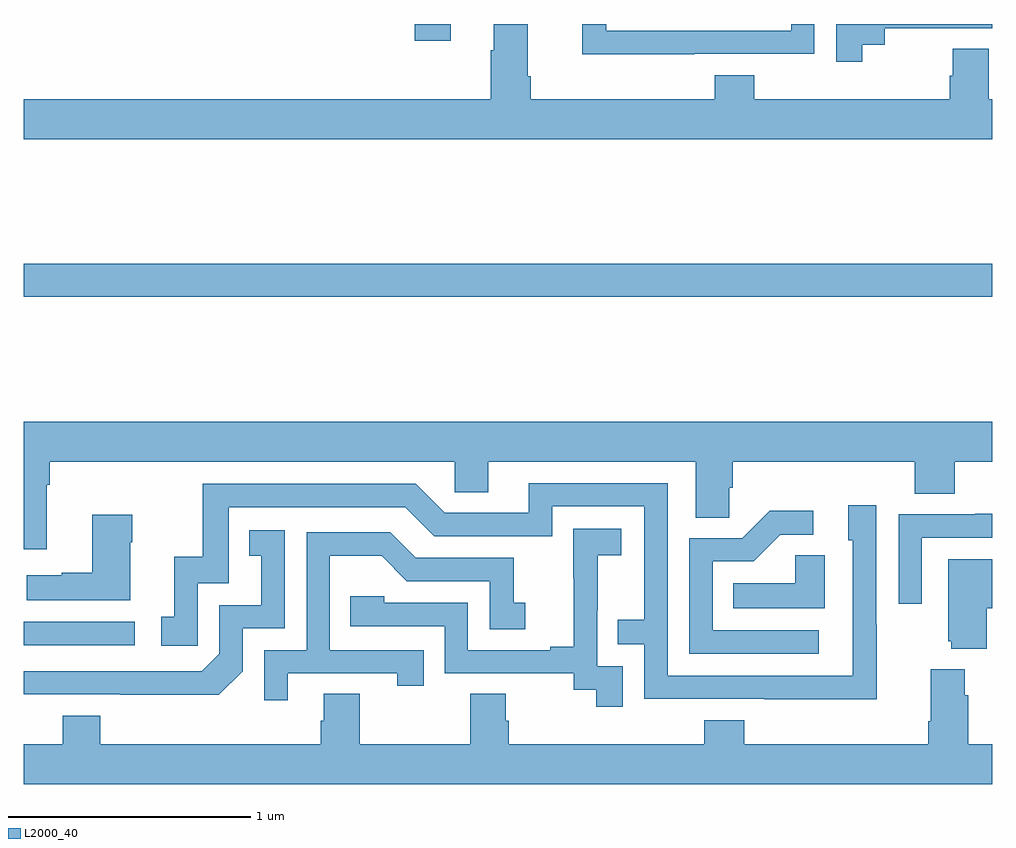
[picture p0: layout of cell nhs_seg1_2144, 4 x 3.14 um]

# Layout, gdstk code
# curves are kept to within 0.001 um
import gdstk
lib = gdstk.Library(unit=1e-6, precision=1e-09)
def R(c, l, rs):  # rectangles x0, y0, x1, y1
    for r in rs: c.add(gdstk.rectangle(r[:2], r[2:], *l))
def P(c, l, *ps):  # polygons
    for p in ps: c.add(gdstk.Polygon(p, *l))
L2000_40 = (2000, 40)

nhs_seg1_2144 = lib.new_cell('nhs_seg1_2144')
R(nhs_seg1_2144, L2000_40, [(227,557.634,227.458,557.73), (227,559.072,231,559.208), (228.615,560.13,228.763,560.199)])
P(nhs_seg1_2144, L2000_40, [(229.769,560.076),(230.265,560.076),(230.265,560.199),(230.169,560.199),(230.169,560.172),(229.405,560.172),(229.405,560.199),(229.306,560.199),(229.306,560.075),(229.769,560.075)],
  [(230.464,560.113),(230.556,560.113),(230.556,560.181),(231,560.181),(231,560.199),(230.355,560.199),(230.355,560.043),(230.464,560.043)],
  [(231,559.888),(230.985,559.888),(230.985,560.096),(230.837,560.096),(230.837,559.986),(230.825,559.986),(230.825,559.888),(230.018,559.888),(230.018,559.987),(229.853,559.987),(229.853,559.888),(229.094,559.888),(229.094,559.984),(229.081,559.984),(229.081,560.197),(228.941,560.197),(228.941,560.09),(228.929,560.09),(228.929,559.888),(227,559.888),(227,559.724),(231,559.724)],
  [(227.095,558.296),(227.108,558.296),(227.108,558.392),(228.78,558.392),(228.78,558.265),(228.919,558.265),(228.919,558.392),(229.775,558.392),(229.775,558.16),(229.914,558.16),(229.914,558.283),(229.928,558.283),(229.928,558.392),(230.681,558.392),(230.681,558.259),(230.846,558.259),(230.846,558.392),(231,558.392),(231,558.556),(227,558.556),(227,558.03),(227.095,558.03)],
  [(230.523,557.717),(230.52,557.717),(230.52,558.211),(230.405,558.211),(230.405,558.066),(230.424,558.066),(230.424,557.508),(229.659,557.508),(229.659,558.303),(229.085,558.303),(229.085,558.18),(228.738,558.18),(228.618,558.3),(227.739,558.3),(227.739,557.998),(227.621,557.998),(227.621,557.751),(227.568,557.751),(227.568,557.631),(227.718,557.631),(227.718,557.889),(227.847,557.889),(227.847,558.204),(228.576,558.204),(228.696,558.084),(229.182,558.084),(229.182,558.207),(229.563,558.207),(229.563,557.738),(229.453,557.738),(229.453,557.637),(229.563,557.637),(229.563,557.412),(230.523,557.411)],
  [(230.284,557.694),(229.845,557.694),(229.845,557.979),(230.014,557.979),(230.125,558.09),(230.26,558.09),(230.26,558.188),(230.081,558.188),(229.968,558.075),(229.749,558.075),(229.749,557.598),(230.284,557.598)],
  [(230.709,558.078),(231,558.078),(231,558.176),(230.929,558.176),(230.929,558.174),(230.613,558.174),(230.613,557.805),(230.709,557.805)],
  [(227.44,558.059),(227.448,558.059),(227.448,558.172),(227.282,558.172),(227.282,557.933),(227.156,557.933),(227.156,557.923),(227.013,557.923),(227.013,557.819),(227.44,557.819)],
  [(229.473,557.547),(229.368,557.547),(229.368,557.777),(229.37,557.777),(229.37,558.005),(229.468,558.005),(229.468,558.115),(229.27,558.115),(229.27,557.909),(229.271,557.909),(229.271,557.626),(229.175,557.626),(229.175,557.613),(228.834,557.613),(228.834,557.808),(228.489,557.808),(228.489,557.835),(228.349,557.835),(228.349,557.712),(228.738,557.712),(228.738,557.517),(229.272,557.517),(229.272,557.449),(229.365,557.449),(229.365,557.379),(229.473,557.379)],
  [(227.904,557.526),(227.904,557.703),(228.078,557.703),(228.078,558.109),(227.932,558.109),(227.932,558.003),(227.981,558.003),(227.981,557.799),(227.808,557.799),(227.808,557.598),(227.736,557.526),(227,557.526),(227,557.43),(227.806,557.429)],
  [(228.091,557.517),(228.542,557.517),(228.542,557.466),(228.653,557.466),(228.653,557.613),(228.264,557.613),(228.264,558.002),(228.478,558.002),(228.582,557.898),(228.924,557.898),(228.924,557.7),(229.072,557.7),(229.072,557.809),(229.023,557.809),(229.023,557.994),(228.619,557.994),(228.514,558.099),(228.168,558.099),(228.168,557.613),(227.994,557.613),(227.994,557.406),(228.091,557.406)],
  [(230.308,558.005),(230.187,558.005),(230.187,557.89),(229.93,557.89),(229.93,557.786),(230.308,557.786)],
  [(230.977,557.786),(231,557.786),(231,557.989),(230.819,557.989),(230.819,557.649),(230.831,557.649),(230.831,557.618),(230.977,557.618)],
  [(231,557.224),(230.9,557.224),(230.9,557.426),(230.887,557.426),(230.887,557.533),(230.747,557.533),(230.747,557.32),(230.735,557.32),(230.735,557.224),(229.976,557.224),(229.976,557.323),(229.811,557.323),(229.811,557.224),(229.004,557.224),(229.004,557.322),(228.991,557.322),(228.991,557.432),(228.844,557.432),(228.844,557.224),(228.387,557.224),(228.387,557.432),(228.239,557.432),(228.239,557.322),(228.227,557.322),(228.227,557.224),(227.315,557.224),(227.315,557.341),(227.162,557.341),(227.162,557.224),(227,557.224),(227,557.06),(231,557.06)])

lib.write_gds('nhs_seg1_2144.gds')
